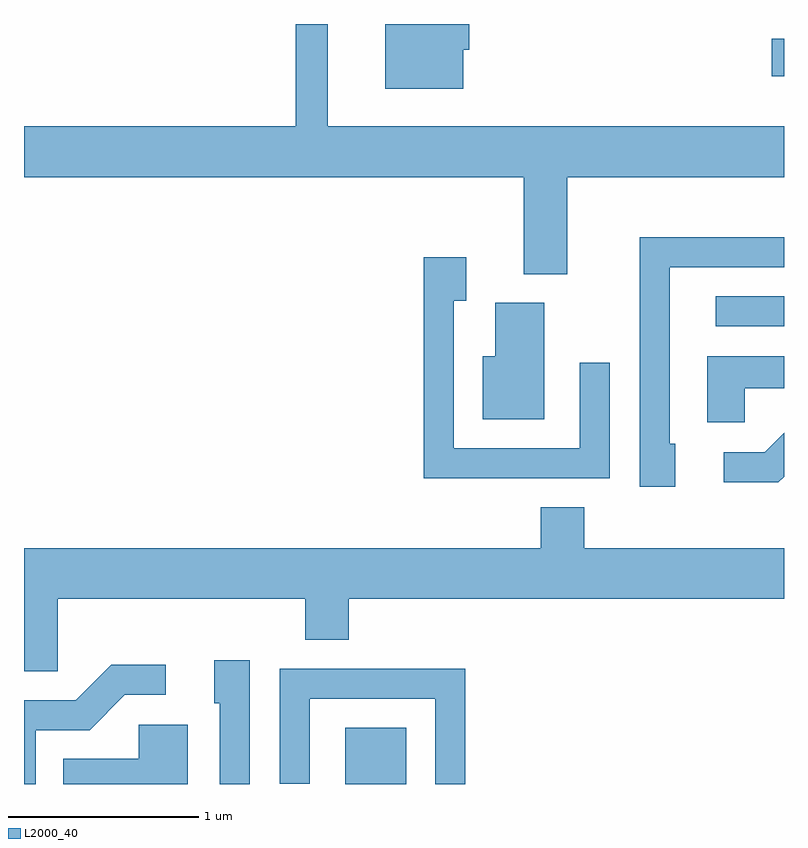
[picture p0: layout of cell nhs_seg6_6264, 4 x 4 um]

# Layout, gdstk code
import gdstk
lib = gdstk.Library(unit=1e-6, precision=1e-09)
def R(c, l, rs):  # rectangles x0, y0, x1, y1
    for r in rs: c.add(gdstk.rectangle(r[:2], r[2:], *l))
def P(c, l, *ps):  # polygons
    for p in ps: c.add(gdstk.Polygon(p, *l))
L2000_40 = (2000, 40)

nhs_seg6_6264 = lib.new_cell('nhs_seg6_6264')
R(nhs_seg6_6264, L2000_40, [(377.301,1560.162,377.624,1560.459), (379.253,1562.571,379.611,1562.729), (379.546,1563.886,379.611,1564.084)])
P(nhs_seg6_6264, L2000_40, [(378.469,1563.356),(379.611,1563.356),(379.611,1563.624),(377.209,1563.624),(377.209,1564.162),(377.041,1564.162),(377.041,1563.624),(375.611,1563.624),(375.611,1563.356),(378.241,1563.356),(378.241,1562.846),(378.469,1562.846)],
  [(377.924,1564.026),(377.954,1564.026),(377.954,1564.162),(377.511,1564.162),(377.511,1563.821),(377.924,1563.821)],
  [(379.039,1561.954),(379.009,1561.954),(379.009,1562.881),(379.611,1562.881),(379.611,1563.039),(378.851,1563.039),(378.851,1561.726),(379.039,1561.726)],
  [(378.694,1562.378),(378.536,1562.378),(378.536,1561.929),(377.874,1561.929),(377.874,1562.706),(377.939,1562.706),(377.939,1562.934),(377.716,1562.934),(377.716,1561.771),(378.694,1561.771)],
  [(378.349,1562.694),(378.091,1562.694),(378.091,1562.414),(378.026,1562.414),(378.026,1562.081),(378.349,1562.081)],
  [(379.404,1562.246),(379.611,1562.246),(379.611,1562.414),(379.206,1562.414),(379.206,1562.066),(379.404,1562.066)],
  [(379.611,1561.78),(379.611,1562.011),(379.509,1561.909),(379.293,1561.909),(379.293,1561.751),(379.582,1561.751)],
  [(375.789,1561.136),(377.091,1561.136),(377.091,1560.921),(377.319,1560.921),(377.319,1561.136),(379.611,1561.136),(379.611,1561.404),(378.559,1561.404),(378.559,1561.619),(378.331,1561.619),(378.331,1561.404),(375.611,1561.404),(375.611,1560.756),(375.789,1560.756)],
  [(376.799,1560.814),(376.611,1560.814),(376.611,1560.586),(376.641,1560.586),(376.641,1560.162),(376.799,1560.162)],
  [(375.674,1560.446),(375.957,1560.446),(376.142,1560.631),(376.358,1560.631),(376.358,1560.789),(376.069,1560.789),(375.884,1560.604),(375.611,1560.604),(375.611,1560.162),(375.674,1560.162)],
  [(377.934,1560.769),(376.956,1560.769),(376.956,1560.163),(377.114,1560.163),(377.114,1560.611),(377.776,1560.611),(377.776,1560.162),(377.934,1560.162)],
  [(376.474,1560.474),(376.216,1560.474),(376.216,1560.294),(375.818,1560.294),(375.818,1560.162),(376.474,1560.162)])

lib.write_gds('nhs_seg6_6264.gds')
